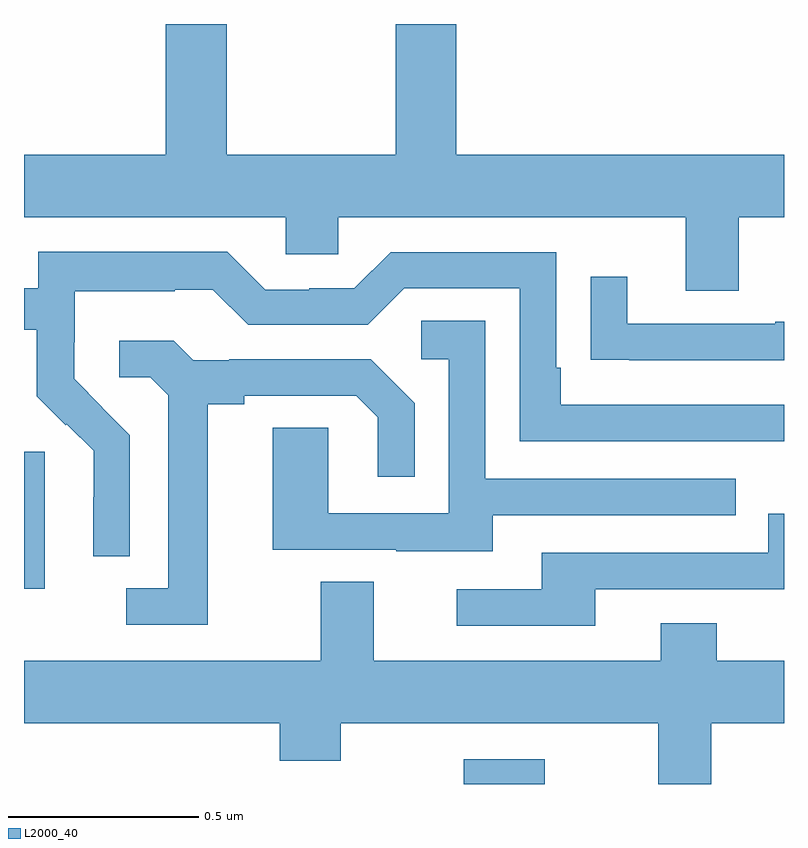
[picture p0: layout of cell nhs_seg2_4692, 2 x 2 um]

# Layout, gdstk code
import gdstk
lib = gdstk.Library(unit=1e-6, precision=1e-09)
def R(c, l, rs):  # rectangles x0, y0, x1, y1
    for r in rs: c.add(gdstk.rectangle(r[:2], r[2:], *l))
def P(c, l, *ps):  # polygons
    for p in ps: c.add(gdstk.Polygon(p, *l))
L2000_40 = (2000, 40)

nhs_seg2_4692 = lib.new_cell('nhs_seg2_4692')
R(nhs_seg2_4692, L2000_40, [(170.157,656.8,170.371,656.865), (169,657.314,169.054,657.675)])
P(nhs_seg2_4692, L2000_40, [(170.881,658.292),(171,658.292),(171,658.456),(170.138,658.456),(170.138,658.8),(169.978,658.8),(169.978,658.456),(169.533,658.456),(169.533,658.8),(169.373,658.8),(169.373,658.456),(169,658.456),(169,658.292),(169.689,658.292),(169.689,658.194),(169.827,658.194),(169.827,658.292),(170.741,658.292),(170.741,658.098),(170.881,658.098)],
  [(169.278,657.718),(169.205,657.791),(169.206,657.792),(169.132,657.866),(169.132,657.963),(169.134,657.963),(169.134,658.097),(169.397,658.097),(169.397,658.101),(169.497,658.101),(169.59,658.008),(169.905,658.008),(170.001,658.104),(170.304,658.104),(170.304,657.702),(171,657.702),(171,657.798),(170.413,657.798),(170.413,657.895),(170.4,657.895),(170.4,658.2),(169.965,658.2),(169.869,658.104),(169.751,658.104),(169.751,658.101),(169.635,658.101),(169.535,658.201),(169.038,658.201),(169.038,658.104),(169,658.104),(169,657.996),(169.033,657.996),(169.033,657.821),(169.11,657.744),(169.113,657.747),(169.184,657.677),(169.184,657.554),(169.182,657.554),(169.182,657.4),(169.278,657.4)],
  [(171,658.016),(170.977,658.016),(170.977,658.011),(170.587,658.011),(170.587,658.135),(170.491,658.135),(170.491,657.916),(170.593,657.916),(170.593,657.915),(171,657.915)],
  [(170.233,657.507),(170.873,657.507),(170.873,657.603),(170.214,657.603),(170.214,658.019),(170.046,658.019),(170.046,657.918),(170.118,657.918),(170.118,657.513),(169.8,657.513),(169.8,657.737),(169.655,657.737),(169.655,657.417),(169.979,657.417),(169.979,657.413),(170.233,657.413)],
  [(169.483,657.8),(169.579,657.8),(169.579,657.822),(169.874,657.822),(169.931,657.765),(169.931,657.609),(170.028,657.609),(170.028,657.802),(169.912,657.918),(169.54,657.918),(169.54,657.915),(169.446,657.915),(169.394,657.967),(169.251,657.967),(169.251,657.87),(169.332,657.87),(169.379,657.823),(169.379,657.315),(169.269,657.315),(169.269,657.219),(169.483,657.219)],
  [(170.503,657.312),(171,657.312),(171,657.511),(170.958,657.511),(170.958,657.408),(170.363,657.408),(170.363,657.312),(170.139,657.312),(170.139,657.216),(170.503,657.216)],
  [(170.809,656.96),(171,656.96),(171,657.124),(170.823,657.124),(170.823,657.223),(170.675,657.223),(170.675,657.124),(169.921,657.124),(169.921,657.332),(169.781,657.332),(169.781,657.124),(169,657.124),(169,656.96),(169.673,656.96),(169.673,656.861),(169.833,656.861),(169.833,656.96),(170.669,656.96),(170.669,656.8),(170.809,656.8)])

lib.write_gds('nhs_seg2_4692.gds')
